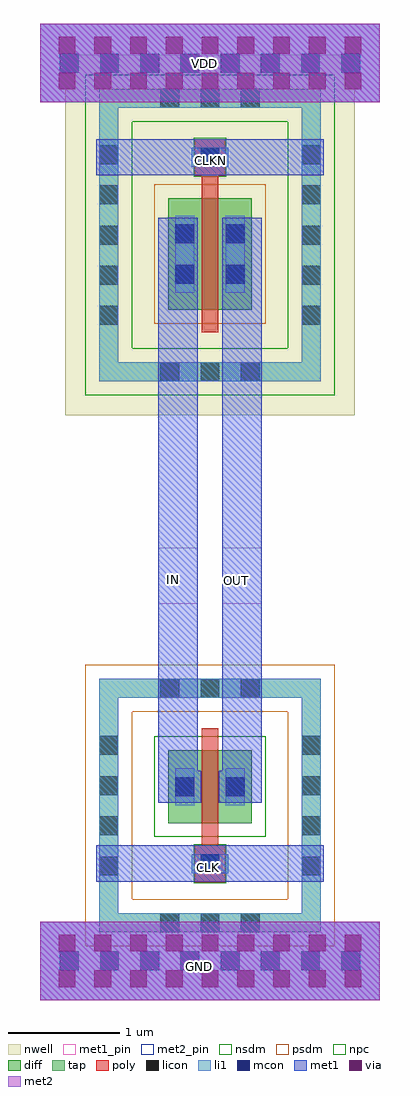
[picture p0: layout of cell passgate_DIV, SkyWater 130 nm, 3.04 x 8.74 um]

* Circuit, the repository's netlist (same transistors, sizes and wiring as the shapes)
** sch_path: /foss/designs/RO_Aging_UNICASS/DIV/passgate_DIV/passgate_DIV.sch
.subckt passgate_DIV CLKN VDD OUT IN GND CLK
*.PININFO VDD:B OUT:B GND:B IN:B CLKN:B CLK:B
M3 IN CLK OUT GND sky130_fd_pr__nfet_01v8 L=0.15 W=0.65 nf=1 ad='int((nf+1)/2) * W/nf * 0.29' as='int((nf+2)/2) * W/nf * 0.29' pd='2*int((nf+1)/2) * (W/nf + 0.29)'
+ ps='2*int((nf+2)/2) * (W/nf + 0.29)' nrd='0.29 / W' nrs='0.29 / W' sa=0 sb=0 sd=0 mult=1 m=1
M1 IN CLKN OUT VDD sky130_fd_pr__pfet_01v8 L=0.15 W=1 nf=1 ad='int((nf+1)/2) * W/nf * 0.29' as='int((nf+2)/2) * W/nf * 0.29' pd='2*int((nf+1)/2) * (W/nf + 0.29)'
+ ps='2*int((nf+2)/2) * (W/nf + 0.29)' nrd='0.29 / W' nrs='0.29 / W' sa=0 sb=0 sd=0 mult=1 m=1
.ends
.end

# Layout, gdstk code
import gdstk
lib = gdstk.Library(unit=1e-6, precision=1e-09)
def R(c, l, rs):  # rectangles x0, y0, x1, y1
    for r in rs: c.add(gdstk.rectangle(r[:2], r[2:], *l))
def A(c, l, x, y, w, h, nx, ny, dx, dy):  # array of equal rectangles
    R(c, l, [(x+i*dx, y+j*dy, x+i*dx+w, y+j*dy+h) for i in range(nx) for j in range(ny)])
def P(c, l, *ps):  # polygons
    for p in ps: c.add(gdstk.Polygon(p, *l))
nwell = (64, 20)
diff = (65, 20)
tap = (65, 44)
poly = (66, 20)
licon = (66, 44)
li1 = (67, 20)
mcon = (67, 44)
met1_pin = (68, 16)
met1 = (68, 20)
via = (68, 44)
met2_pin = (69, 16)
met2 = (69, 20)
nsdm = (93, 44)
psdm = (94, 20)
npc = (95, 20)

vias_gen_1 = lib.new_cell('vias_gen$1')
R(vias_gen_1, li1, [(0,0,3.04,0.7)])
A(vias_gen_1, mcon, 0.175, 0.265, 0.17, 0.17, 8, 1, 0.36, 0)
R(vias_gen_1, met1, [(0,0,3.04,0.7)])
A(vias_gen_1, via, 0.165, 0.115, 0.15, 0.15, 9, 2, 0.32, 0.32)
R(vias_gen_1, met2, [(0,0,3.04,0.7)])

pfet = lib.new_cell('pfet')
R(pfet, nwell, [(-0.92,-0.945,1.67,2.285)])
R(pfet, diff, [(0,0,0.75,1)])
P(pfet, tap, [(-0.615,-0.64),(-0.615,1.81),(-0.445,1.81),(-0.445,-0.47),(1.195,-0.47),(1.195,1.81),(-0.615,1.81),(-0.615,1.98),(1.365,1.98),(1.365,-0.64)])
R(pfet, poly, [(0.3,-0.2,0.45,1.2), (0.24,1.2,0.51,1.53)])
A(pfet, licon, -0.07, -0.64, 0.17, 0.17, 3, 2, 0.36, 2.45)
A(pfet, licon, -0.615, -0.135, 0.17, 0.17, 1, 5, 0, 0.36)
A(pfet, licon, 1.195, -0.135, 0.17, 0.17, 1, 5, 0, 0.36)
R(pfet, licon, [(0.065,0.235,0.235,0.405), (0.515,0.235,0.685,0.405), (0.065,0.595,0.235,0.765), (0.515,0.595,0.685,0.765), (0.29,1.28,0.46,1.45)])
R(pfet, li1, [(0.065,0.155,0.235,0.845), (0.515,0.155,0.685,0.845), (0.21,1.28,0.54,1.45)])
P(pfet, li1, [(-0.615,-0.64),(-0.615,1.81),(-0.445,1.81),(-0.445,-0.47),(1.195,-0.47),(1.195,1.81),(-0.615,1.81),(-0.615,1.98),(1.365,1.98),(1.365,-0.64)])
R(pfet, mcon, [(0.065,0.235,0.235,0.405), (0.515,0.235,0.685,0.405), (0.065,0.595,0.235,0.765), (0.515,0.595,0.685,0.765), (0.29,1.28,0.46,1.45)])
R(pfet, met1, [(0.035,0.175,0.265,0.825), (0.485,0.175,0.715,0.825), (0.19,1.25,0.56,1.48)])
P(pfet, nsdm, [(-0.74,-0.765),(-0.74,1.685),(-0.32,1.685),(-0.32,-0.345),(1.07,-0.345),(1.07,1.685),(-0.74,1.685),(-0.74,2.105),(1.49,2.105),(1.49,-0.765)])
R(pfet, psdm, [(-0.125,-0.125,0.875,1.125)])
R(pfet, npc, [(0.23,1.19,0.52,1.54)])

nfet = lib.new_cell('nfet')
R(nfet, diff, [(0,0,0.75,0.65)])
P(nfet, tap, [(-0.615,-0.98),(-0.615,1.12),(-0.445,1.12),(-0.445,-0.81),(1.195,-0.81),(1.195,1.12),(-0.615,1.12),(-0.615,1.29),(1.365,1.29),(1.365,-0.98)])
R(nfet, poly, [(0.24,-0.53,0.51,-0.2), (0.3,-0.2,0.45,0.85)])
A(nfet, licon, -0.07, -0.98, 0.17, 0.17, 3, 2, 0.36, 2.1)
A(nfet, licon, -0.615, -0.47, 0.17, 0.17, 1, 4, 0, 0.36)
A(nfet, licon, 1.195, -0.47, 0.17, 0.17, 1, 4, 0, 0.36)
R(nfet, licon, [(0.29,-0.45,0.46,-0.28), (0.065,0.24,0.235,0.41), (0.515,0.24,0.685,0.41)])
R(nfet, li1, [(0.21,-0.45,0.54,-0.28), (0.065,0.16,0.235,0.49), (0.515,0.16,0.685,0.49)])
P(nfet, li1, [(-0.615,-0.98),(-0.615,1.12),(-0.445,1.12),(-0.445,-0.81),(1.195,-0.81),(1.195,1.12),(-0.615,1.12),(-0.615,1.29),(1.365,1.29),(1.365,-0.98)])
R(nfet, mcon, [(0.29,-0.45,0.46,-0.28), (0.065,0.24,0.235,0.41), (0.515,0.24,0.685,0.41)])
R(nfet, met1, [(0.19,-0.48,0.56,-0.25), (0.005,0.18,0.295,0.47), (0.455,0.18,0.745,0.47)])
R(nfet, nsdm, [(-0.125,-0.125,0.875,0.775)])
P(nfet, psdm, [(-0.74,-1.105),(-0.74,0.995),(-0.32,0.995),(-0.32,-0.685),(1.07,-0.685),(1.07,0.995),(-0.74,0.995),(-0.74,1.415),(1.49,1.415),(1.49,-1.105)])
R(nfet, npc, [(0.23,-0.54,0.52,-0.19)])

passgate_div = lib.new_cell('passgate_DIV')
R(passgate_div, met1_pin, [(2.485,4.81,4.525,5.135), (3.04,7.3,3.395,7.8), (3.615,7.3,3.97,7.8), (2.485,11.135,4.525,11.46)])
R(passgate_div, met1, [(2.485,4.81,4.525,5.135), (3.04,5.515,3.395,10.755), (3.615,5.515,3.97,10.755), (2.485,11.135,4.525,11.46)])
R(passgate_div, met2_pin, [(1.985,3.75,5.025,4.45), (1.985,11.79,5.025,12.49)])
passgate_div.add(gdstk.Reference(vias_gen_1, (1.985,11.79)))
passgate_div.add(gdstk.Reference(pfet, (3.13,9.93)))
passgate_div.add(gdstk.Reference(nfet, (3.13,5.335)))
passgate_div.add(gdstk.Reference(vias_gen_1, (1.985,3.75)))
passgate_div.add(gdstk.Label('CLK', (3.49,4.94), layer=68, texttype=5))
passgate_div.add(gdstk.Label('IN', (3.175,7.515), layer=68, texttype=5))
passgate_div.add(gdstk.Label('OUT', (3.745,7.51), layer=68, texttype=5))
passgate_div.add(gdstk.Label('CLKN', (3.505,11.265), layer=68, texttype=5))
passgate_div.add(gdstk.Label('GND', (3.41,4.05), layer=69, texttype=5))
passgate_div.add(gdstk.Label('VDD', (3.455,12.135), layer=69, texttype=5))

lib.write_gds('passgate_DIV.gds')
